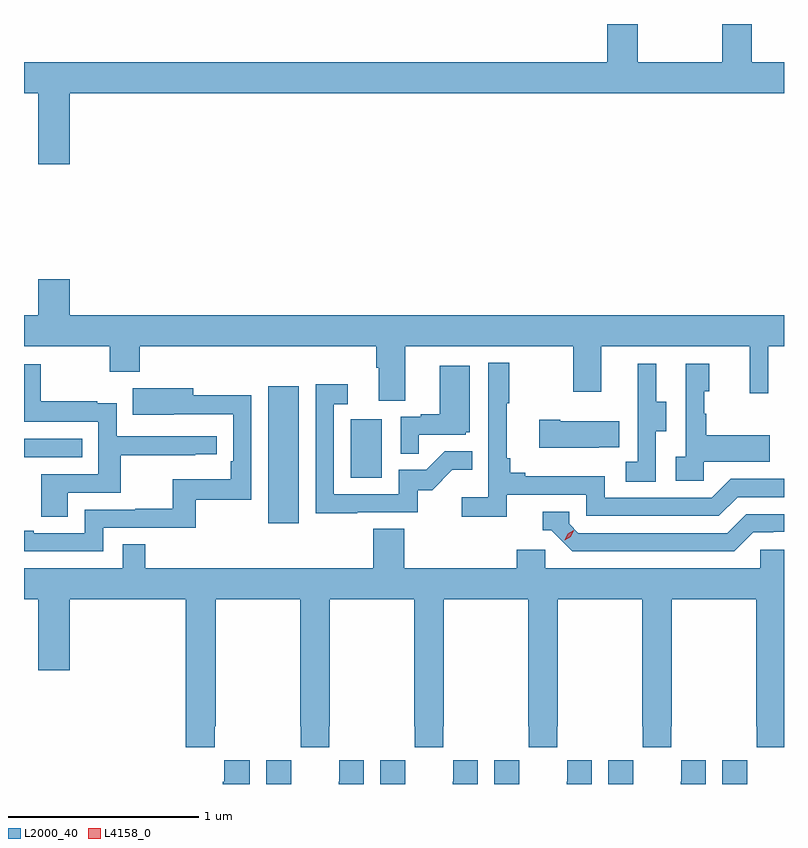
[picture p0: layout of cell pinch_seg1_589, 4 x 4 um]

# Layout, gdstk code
import gdstk
lib = gdstk.Library(unit=1e-6, precision=1e-09)
def R(c, l, rs):  # rectangles x0, y0, x1, y1
    for r in rs: c.add(gdstk.rectangle(r[:2], r[2:], *l))
def P(c, l, *ps):  # polygons
    for p in ps: c.add(gdstk.Polygon(p, *l))
L2000_40 = (2000, 40)
L4158_0 = (4158, 0)

pinch_seg1_589 = lib.new_cell('pinch_seg1_589')
R(pinch_seg1_589, L2000_40, [(1065.317,504.18,1065.478,504.901), (1065.752,504.42,1065.916,504.727), (1064.032,504.528,1064.339,504.624)])
P(pinch_seg1_589, L2000_40, [(1064.272,506.444),(1068.032,506.444),(1068.032,506.608),(1067.862,506.608),(1067.862,506.808),(1067.707,506.808),(1067.707,506.608),(1067.262,506.608),(1067.262,506.808),(1067.102,506.808),(1067.102,506.608),(1064.032,506.608),(1064.032,506.444),(1064.108,506.444),(1064.108,506.07),(1064.272,506.07)],
  [(1064.108,505.465),(1064.108,505.276),(1064.032,505.276),(1064.032,505.112),(1064.482,505.112),(1064.482,504.977),(1064.642,504.977),(1064.642,505.112),(1065.887,505.112),(1065.887,505),(1065.899,505),(1065.899,504.826),(1066.039,504.826),(1066.039,505.112),(1066.924,505.112),(1066.924,504.873),(1067.071,504.873),(1067.071,505.112),(1067.852,505.112),(1067.852,504.864),(1067.949,504.864),(1067.949,505.112),(1068.032,505.112),(1068.032,505.276),(1064.272,505.276),(1064.272,505.465)],
  [(1066.574,504.33),(1066.992,504.33),(1066.992,504.219),(1067.689,504.219),(1067.788,504.318),(1068.032,504.318),(1068.032,504.414),(1067.751,504.414),(1067.652,504.315),(1067.088,504.315),(1067.088,504.427),(1066.669,504.427),(1066.669,504.446),(1066.592,504.446),(1066.592,504.523),(1066.573,504.523),(1066.573,504.811),(1066.585,504.811),(1066.585,505.024),(1066.476,505.024),(1066.476,504.316),(1066.335,504.316),(1066.335,504.214),(1066.574,504.214)],
  [(1067.358,504.664),(1067.413,504.664),(1067.413,504.819),(1067.359,504.819),(1067.359,505.021),(1067.261,505.021),(1067.261,504.807),(1067.262,504.807),(1067.262,504.503),(1067.199,504.503),(1067.199,504.4),(1067.358,504.4)],
  [(1067.61,504.503),(1067.957,504.503),(1067.957,504.643),(1067.623,504.643),(1067.623,504.758),(1067.613,504.758),(1067.613,504.876),(1067.638,504.876),(1067.638,505.021),(1067.514,505.021),(1067.514,504.53),(1067.463,504.53),(1067.463,504.405),(1067.61,504.405)],
  [(1064.263,504.342),(1064.54,504.342),(1064.54,504.538),(1064.933,504.538),(1064.933,504.543),(1065.046,504.543),(1065.046,504.639),(1064.52,504.639),(1064.52,504.811),(1064.417,504.811),(1064.417,504.823),(1064.119,504.823),(1064.119,505.017),(1064.032,505.017),(1064.032,504.714),(1064.424,504.714),(1064.424,504.438),(1064.123,504.438),(1064.123,504.214),(1064.263,504.214)],
  [(1066.109,504.645),(1066.356,504.645),(1066.356,504.66),(1066.378,504.66),(1066.378,505.009),(1066.22,505.009),(1066.22,504.754),(1066.121,504.754),(1066.121,504.741),(1066.014,504.741),(1066.014,504.547),(1066.109,504.547)],
  [(1065.785,504.237),(1066.104,504.237),(1066.104,504.354),(1066.18,504.354),(1066.287,504.461),(1066.391,504.461),(1066.391,504.56),(1066.247,504.56),(1066.149,504.462),(1066.005,504.462),(1066.005,504.333),(1065.663,504.333),(1065.663,504.807),(1065.736,504.807),(1065.736,504.913),(1065.567,504.913),(1065.567,504.232),(1065.785,504.232)],
  [(1064.448,504.156),(1064.935,504.156),(1064.935,504.303),(1065.228,504.303),(1065.228,504.854),(1064.923,504.854),(1064.923,504.892),(1064.605,504.892),(1064.605,504.752),(1064.819,504.752),(1064.819,504.753),(1065.132,504.753),(1065.132,504.508),(1065.119,504.508),(1065.119,504.412),(1064.814,504.412),(1064.814,504.257),(1064.617,504.257),(1064.617,504.252),(1064.352,504.252),(1064.352,504.129),(1064.083,504.129),(1064.083,504.142),(1064.032,504.142),(1064.032,504.033),(1064.448,504.033)],
  [(1067.057,504.581),(1067.165,504.581),(1067.165,504.718),(1066.855,504.718),(1066.855,504.726),(1066.743,504.726),(1066.743,504.578),(1067.057,504.578)],
  [(1067.869,504.132),(1067.976,504.132),(1067.976,504.135),(1068.032,504.135),(1068.032,504.228),(1067.832,504.228),(1067.733,504.129),(1066.95,504.129),(1066.902,504.177),(1066.902,504.24),(1066.763,504.24),(1066.763,504.144),(1066.806,504.144),(1066.917,504.033),(1067.77,504.033)],
  [(1065.035,503.113),(1065.042,503.113),(1065.042,503.78),(1065.487,503.78),(1065.487,503.113),(1065.489,503.113),(1065.489,503.001),(1065.639,503.001),(1065.639,503.113),(1065.642,503.113),(1065.642,503.78),(1066.087,503.78),(1066.087,503.113),(1066.089,503.113),(1066.089,503.001),(1066.239,503.001),(1066.239,503.113),(1066.242,503.113),(1066.242,503.78),(1066.687,503.78),(1066.687,503.113),(1066.689,503.113),(1066.689,503.001),(1066.839,503.001),(1066.839,503.113),(1066.842,503.113),(1066.842,503.78),(1067.287,503.78),(1067.287,503.113),(1067.289,503.113),(1067.289,503.001),(1067.439,503.001),(1067.439,503.113),(1067.442,503.113),(1067.442,503.78),(1067.887,503.78),(1067.887,503.113),(1067.889,503.113),(1067.889,503.001),(1068.032,503.001),(1068.032,504.042),(1067.907,504.042),(1067.907,503.944),(1066.776,503.944),(1066.776,504.042),(1066.625,504.042),(1066.625,503.944),(1066.034,503.944),(1066.034,504.152),(1065.869,504.152),(1065.869,503.944),(1064.669,503.944),(1064.669,504.071),(1064.553,504.071),(1064.553,503.944),(1064.032,503.944),(1064.032,503.78),(1064.108,503.78),(1064.108,503.406),(1064.272,503.406),(1064.272,503.78),(1064.882,503.78),(1064.882,503.001),(1065.035,503.001)],
  [(1066.639,502.82),(1066.638,502.82),(1066.638,502.933),(1066.508,502.933),(1066.508,502.808),(1066.639,502.808)],
  [(1065.22,502.933),(1065.086,502.933),(1065.086,502.82),(1065.077,502.82),(1065.077,502.808),(1065.22,502.808)],
  [(1067.02,502.933),(1066.89,502.933),(1066.89,502.82),(1066.889,502.82),(1066.889,502.808),(1067.02,502.808)],
  [(1067.239,502.82),(1067.238,502.82),(1067.238,502.933),(1067.108,502.933),(1067.108,502.808),(1067.239,502.808)],
  [(1067.62,502.933),(1067.49,502.933),(1067.49,502.82),(1067.489,502.82),(1067.489,502.808),(1067.62,502.808)],
  [(1067.839,502.82),(1067.838,502.82),(1067.838,502.933),(1067.708,502.933),(1067.708,502.808),(1067.839,502.808)],
  [(1066.42,502.933),(1066.29,502.933),(1066.29,502.82),(1066.289,502.82),(1066.289,502.808),(1066.42,502.808)],
  [(1066.039,502.82),(1066.038,502.82),(1066.038,502.933),(1065.908,502.933),(1065.908,502.808),(1066.039,502.808)],
  [(1065.82,502.933),(1065.69,502.933),(1065.69,502.82),(1065.689,502.82),(1065.689,502.808),(1065.82,502.808)],
  [(1065.439,502.82),(1065.438,502.82),(1065.438,502.933),(1065.308,502.933),(1065.308,502.808),(1065.439,502.808)])
P(pinch_seg1_589, L4158_0, [(1066.879,504.091),(1066.879,504.091),(1066.895,504.124),(1066.926,504.143),(1066.926,504.143),(1066.926,504.142),(1066.91,504.11),(1066.879,504.091)])

lib.write_gds('pinch_seg1_589.gds')
